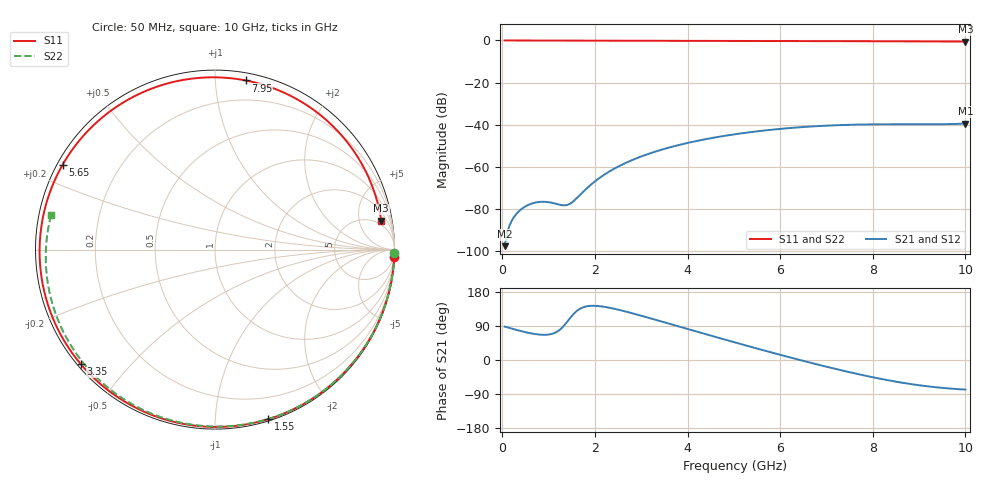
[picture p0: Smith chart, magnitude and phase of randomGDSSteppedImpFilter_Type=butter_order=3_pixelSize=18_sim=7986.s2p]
! freq	dB(S11)	phase(S11)	dB(S12)	phase(S12)
!  dB(S21)	phase(S21)	dB(S22)	phase(S22)
!S-par simulation data
#  GHz  S  DB  R 50
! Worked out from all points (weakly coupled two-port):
!   200 points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, 50 MHz to 10 GHz, reference 50 ohm
!   highest |S21| = -39.41 dB at 10 GHz (marker M1); lowest = -97.6 dB at 50 MHz (marker M2)
!   lowest |S11| = -0.5 dB at 10 GHz (marker M3), VSWR 32.51, Z = 185 + j514 ohm
!   |S11| at or under -10 dB: nowhere
!   |S22| runs from -0.6 to 0.0 dB; largest |S21 - S12| = 0
!   S11 on the Smith chart (normalised r, x): 50 MHz: 0, -46; 1.55 GHz: 0.01, -1.36; 3.35 GHz: 0.01, -0.37; 5.65 GHz: 0.02, +0.26; 7.95 GHz: 0.05, +1.20; 10 GHz: 4, +10
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0.05  -0.00 -2.5  -97.58 88.2  -97.58 88.2  -0.00 -1.1
0.4  -0.03 -19.7  -80.23 76.4  -80.23 76.4  -0.01 -9.0
0.6  -0.04 -29.3  -77.66 70.8  -77.66 70.8  -0.02 -13.4
0.85  -0.05 -41.2  -76.53 66.6  -76.53 66.6  -0.02 -19.0
1.35  -0.08 -64.0  -78.22 93.2  -78.22 93.2  -0.04 -30.0
1.55  -0.09 -72.6  -76.02 122.8  -76.02 122.8  -0.04 -34.3
1.75  -0.09 -81.0  -71.71 139.2  -71.71 139.2  -0.05 -38.6
2.05  -0.11 -93.1  -66.01 142.6  -66.01 142.6  -0.06 -45.0
2.4  -0.12 -106.5  -61.04 135.7  -61.04 135.7  -0.07 -52.4
2.85  -0.13 -122.7  -56.32 121.9  -56.32 121.9  -0.08 -61.6
3.35  -0.15 -139.5  -52.41 104.7  -52.41 104.7  -0.09 -71.7
3.4  -0.15 -141.1  -52.08 103.0  -52.08 103.0  -0.10 -72.7
4.2  -0.18 -166.2  -47.67 74.8  -47.67 74.8  -0.12 -88.2
5.05  -0.22 168.6  -44.41 45.4  -44.41 45.4  -0.16 -104.0
5.65  -0.25 150.9  -42.73 25.2  -42.73 25.2  -0.19 -114.8
6.15  -0.27 136.1  -41.66 8.8  -41.66 8.8  -0.22 -123.6
6.7  -0.30 119.4  -40.77 -8.6  -40.77 -8.6  -0.26 -133.2
7.35  -0.34 99.1  -40.10 -28.0  -40.10 -28.0  -0.31 -144.4
7.95  -0.37 79.7  -39.81 -44.3  -39.81 -44.3  -0.36 -154.8
8.35  -0.40 66.3  -39.75 -53.9  -39.75 -53.9  -0.40 -161.8
9.25  -0.46 35.6  -39.78 -70.5  -39.78 -70.5  -0.50 -177.9
10  -0.53 9.9  -39.41 -78.1  -39.41 -78.1  -0.60 168.1
